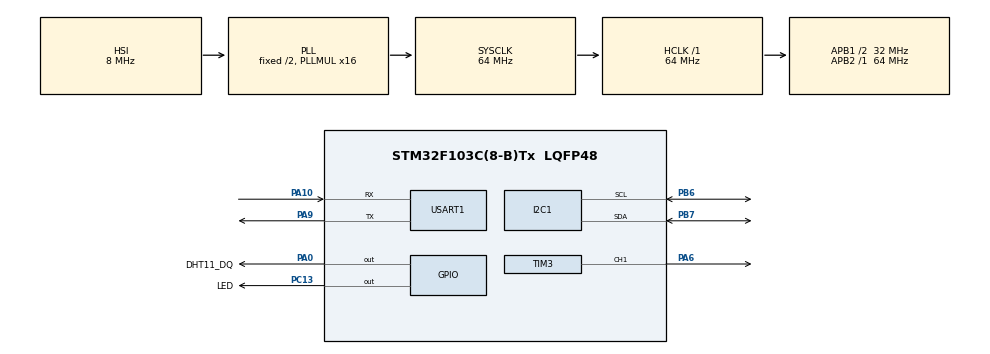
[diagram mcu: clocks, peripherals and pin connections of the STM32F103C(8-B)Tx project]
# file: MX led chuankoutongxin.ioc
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I2C1.I2C_Mode=I2C_Fast
Mcu.Family=STM32F1
Mcu.Name=STM32F103C(8-B)Tx
Mcu.Package=LQFP48
NVIC.PriorityGroup=NVIC_PRIORITYGROUP_4
NVIC.TIM2_IRQn=true\:0\:0\:false\:false\:true\:true\:true\:true
PA0-WKUP.GPIO_Label=DHT11_DQ
PA0-WKUP.GPIO_ModeDefaultOutputPP=GPIO_MODE_OUTPUT_OD
PA0-WKUP.GPIO_PuPd=GPIO_NOPULL
PA0-WKUP.PinState=GPIO_PIN_SET
PA0-WKUP.Signal=GPIO_Output
PA10.Mode=Asynchronous
PA10.Signal=USART1_RX
PA6.Signal=S_TIM3_CH1
PA9.Mode=Asynchronous
PA9.Signal=USART1_TX
PB6.Mode=I2C
PB6.Signal=I2C1_SCL
PB7.Mode=I2C
PB7.Signal=I2C1_SDA
PC13-TAMPER-RTC.GPIO_Label=LED
PC13-TAMPER-RTC.PinState=GPIO_PIN_SET
PC13-TAMPER-RTC.Signal=GPIO_Output
PD0-OSC_IN.Mode=HSE-External-Oscillator
PD0-OSC_IN.Signal=RCC_OSC_IN
PD1-OSC_OUT.Mode=HSE-External-Oscillator
PD1-OSC_OUT.Signal=RCC_OSC_OUT
ProjectManager.HeapSize=0x200
ProjectManager.StackSize=0x400
ProjectManager.TargetToolchain=MDK-ARM V5
RCC.AHBFreq_Value=64000000
RCC.APB1CLKDivider=RCC_HCLK_DIV2
RCC.APB1Freq_Value=32000000
RCC.APB1TimFreq_Value=64000000
RCC.APB2Freq_Value=64000000
RCC.APB2TimFreq_Value=64000000
RCC.HCLKFreq_Value=64000000
RCC.PLLMUL=RCC_PLL_MUL16
RCC.SYSCLKFreq_VALUE=64000000
RCC.SYSCLKSource=RCC_SYSCLKSOURCE_PLLCLK
RCC.USBFreq_Value=64000000
SH.S_TIM3_CH1.0=TIM3_CH1,PWM Generation1 CH1
TIM2.Period=19999
TIM2.Prescaler=6399
TIM3.Channel-PWM\ Generation1\ CH1=TIM_CHANNEL_1
TIM3.Period=79
TIM3.Prescaler=39
USART1.VirtualMode=VM_ASYNC
VP_SYS_VS_ND.Mode=No_Debug
VP_TIM2_VS_ClockSourceINT.Mode=Internal
VP_TIM3_VS_ClockSourceINT.Mode=Internal
board=custom

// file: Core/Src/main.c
/* USER CODE BEGIN Header */
/**
  ******************************************************************************
  * @file           : main.c
  * @brief          : Main program body
  ******************************************************************************
  * @attention
  *
  * Copyright(c) 2026 STMicroelectronics.
  * All rights reserved.
  *
  * This software is licensed under terms that can be found in the LICENSE file
  * in the root directory of this software component.
  * If no LICENSE file comes with this software, it is provided AS-IS.
  *
  ******************************************************************************
  */
/* USER CODE END Header */
#include "main.h"
#include "i2c.h"
#include "tim.h"
#include "usart.h"
#include "gpio.h"

/* USER CODE BEGIN Includes */
#include "dht11.h"
#include "oled.h"
#include <stdio.h>
/* USER CODE END Includes */

/* USER CODE BEGIN PD */
#define Log 1
/* USER CODE END PD */

/* USER CODE BEGIN PV */
uint8_t dht11_read_flag = 0;

/* USER CODE END PV */

void SystemClock_Config(void);

/* USER CODE BEGIN 0 */
int fputc(int ch, FILE *f)
{
	uint8_t temp[1] = {ch};
	HAL_UART_Transmit(&huart1,temp,1,2);
	return ch;
}
/* USER CODE END 0 */

int main(void)
{

  /* MCU Configuration--------------------------------------------------------*/

  /* Reset of all peripherals, Initializes the Flash interface and the Systick. */
  HAL_Init();

  /* Configure the system clock */
  SystemClock_Config();

  /* Initialize all configured peripherals */
  MX_GPIO_Init();
  MX_USART1_UART_Init();
  MX_TIM2_Init();
  MX_TIM3_Init();
  MX_I2C1_Init();
  /* USER CODE BEGIN 2 */
DWT_Delay_Init();
DHT11_Init();
HAL_TIM_Base_Start_IT(&htim2);

OLED_Init();                  /* OLED 初始化（I2C1 已由 CubeMX 初始化） */
OLED_CLS();                   /* 清屏 */

printf("DHT11 Demo Start!\r\n");
  /* USER CODE END 2 */

  /* Infinite loop */
  while (1)
  {

    /* USER CODE BEGIN 3 */

    if (dht11_read_flag == 1)
    {
        dht11_read_flag = 0;

        DHT11_Data dht11;
        if (DHT11_Read(&dht11) == DHT11_OK)
        {
            char buf[24];

            printf("humidity: %d.%d %%RH  |  temp: %d.%d C\r\n",
                   dht11.humidity_int, dht11.humidity_dec,
                   dht11.temp_int,     dht11.temp_dec);

            /* ===== OLED 显示 ===== */
            OLED_CLS();                                        /* 先清屏防残留 */

            sprintf(buf, "Temp: %d.%d C", dht11.temp_int, dht11.temp_dec);
            OLED_ShowStr(0, 0, (unsigned char *)buf, 2);   /* 大字显示温度(占page0-1) */

            sprintf(buf, "Humi: %d.%d %%RH", dht11.humidity_int, dht11.humidity_dec);
            OLED_ShowStr(0, 4, (unsigned char *)buf, 1);   /* 小字显示湿度(page4) */
        }
        else
        {
            printf("DHT11 Read Error!\r\n");
            OLED_ShowStr(0, 0, (unsigned char *)"DHT11 Err", 2);
        }
    }
	}

  /* USER CODE END 3 */
}

void SystemClock_Config(void)
{
  RCC_OscInitTypeDef RCC_OscInitStruct = {0};
  RCC_ClkInitTypeDef RCC_ClkInitStruct = {0};

  /** Initializes the RCC Oscillators according to the specified parameters
  * in the RCC_OscInitTypeDef structure.
  */
  RCC_OscInitStruct.OscillatorType = RCC_OSCILLATORTYPE_HSI;
  RCC_OscInitStruct.HSIState = RCC_HSI_ON;
  RCC_OscInitStruct.HSICalibrationValue = RCC_HSICALIBRATION_DEFAULT;
  RCC_OscInitStruct.PLL.PLLState = RCC_PLL_ON;
  RCC_OscInitStruct.PLL.PLLSource = RCC_PLLSOURCE_HSI_DIV2;
  RCC_OscInitStruct.PLL.PLLMUL = RCC_PLL_MUL16;
  if (HAL_RCC_OscConfig(&RCC_OscInitStruct) != HAL_OK)
  {
    Error_Handler();
  }

  /** Initializes the CPU, AHB and APB buses clocks
  */
  RCC_ClkInitStruct.ClockType = RCC_CLOCKTYPE_HCLK|RCC_CLOCKTYPE_SYSCLK
                              |RCC_CLOCKTYPE_PCLK1|RCC_CLOCKTYPE_PCLK2;
  RCC_ClkInitStruct.SYSCLKSource = RCC_SYSCLKSOURCE_PLLCLK;
  RCC_ClkInitStruct.AHBCLKDivider = RCC_SYSCLK_DIV1;
  RCC_ClkInitStruct.APB1CLKDivider = RCC_HCLK_DIV2;
  RCC_ClkInitStruct.APB2CLKDivider = RCC_HCLK_DIV1;

  if (HAL_RCC_ClockConfig(&RCC_ClkInitStruct, FLASH_LATENCY_2) != HAL_OK)
  {
    Error_Handler();
  }
}

/* USER CODE BEGIN 4 */
void HAL_TIM_PeriodElapsedCallback(TIM_HandleTypeDef *htim)
{
    if (htim->Instance == TIM2)
    {
        dht11_read_flag = 1;       //閫氱煡閿熸枻鎷峰惊閿熸枻鎷烽敓鏂ゆ嫹閿熸枻鎷烽敓鏂ゆ嫹閿熸枻鎷?/
        HAL_GPIO_TogglePin(LED_GPIO_Port, LED_Pin);  //LED閿熸枻鎷烽敓鏂ゆ嫹//
    }
}

/* USER CODE END 4 */

void Error_Handler(void)
{
  __disable_irq();
  while (1)
  {
  }
}
